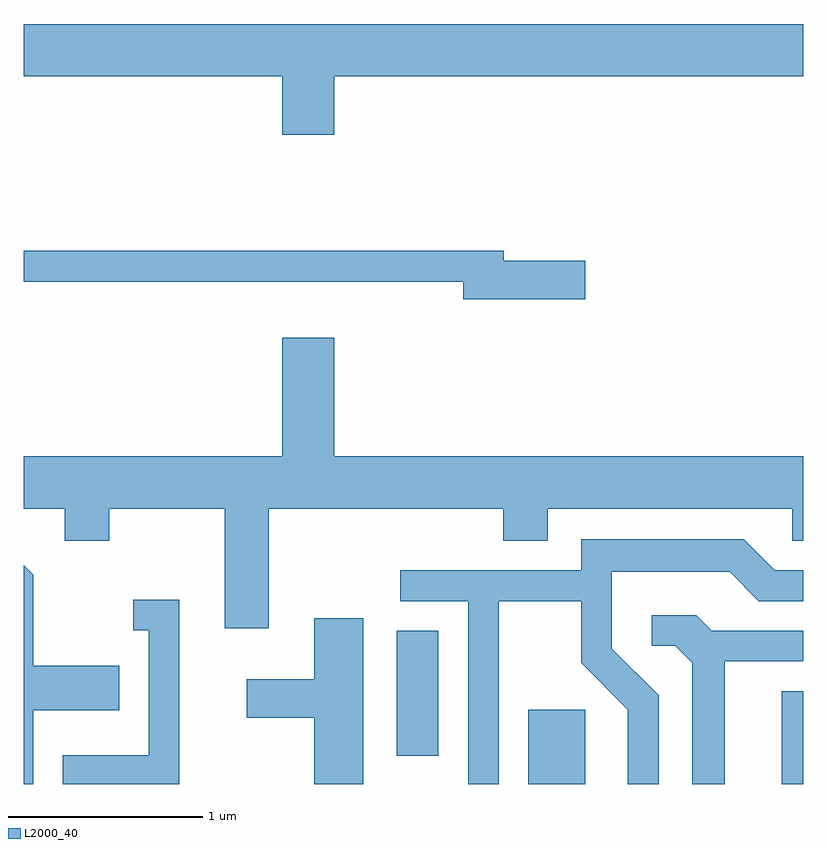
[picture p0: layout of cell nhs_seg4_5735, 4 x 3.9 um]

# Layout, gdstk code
import gdstk
lib = gdstk.Library(unit=1e-6, precision=1e-09)
def R(c, l, rs):  # rectangles x0, y0, x1, y1
    for r in rs: c.add(gdstk.rectangle(r[:2], r[2:], *l))
def P(c, l, *ps):  # polygons
    for p in ps: c.add(gdstk.Polygon(p, *l))
L2000_40 = (2000, 40)

nhs_seg4_5735 = lib.new_cell('nhs_seg4_5735')
R(nhs_seg4_5735, L2000_40, [(356.201,1299.982,356.494,1300.364), (357.501,1299.982,357.611,1300.459), (355.526,1300.126,355.739,1300.769)])
P(nhs_seg4_5735, L2000_40, [(353.611,1303.616),(354.936,1303.616),(354.936,1303.316),(355.204,1303.316),(355.204,1303.616),(357.611,1303.616),(357.611,1303.884),(353.611,1303.884)],
  [(356.494,1302.669),(356.074,1302.669),(356.074,1302.719),(353.611,1302.719),(353.611,1302.561),(355.866,1302.561),(355.866,1302.471),(356.494,1302.471)],
  [(354.869,1301.396),(356.071,1301.396),(356.071,1301.231),(356.299,1301.231),(356.299,1301.396),(357.556,1301.396),(357.556,1301.231),(357.611,1301.231),(357.611,1301.664),(355.204,1301.664),(355.204,1302.274),(354.936,1302.274),(354.936,1301.664),(353.611,1301.664),(353.611,1301.396),(353.821,1301.396),(353.821,1301.231),(354.049,1301.231),(354.049,1301.396),(354.641,1301.396),(354.641,1300.781),(354.869,1300.781)],
  [(356.049,1300.921),(356.471,1300.921),(356.471,1300.604),(356.711,1300.364),(356.711,1299.982),(356.869,1299.982),(356.869,1300.437),(356.629,1300.677),(356.629,1301.071),(357.234,1301.071),(357.384,1300.921),(357.611,1300.921),(357.611,1301.079),(357.467,1301.079),(357.307,1301.239),(356.471,1301.239),(356.471,1301.079),(355.543,1301.079),(355.543,1300.921),(355.891,1300.921),(355.891,1299.982),(356.049,1299.982)],
  [(353.659,1300.361),(354.099,1300.361),(354.099,1300.589),(353.659,1300.589),(353.659,1301.057),(353.611,1301.105),(353.611,1299.982),(353.659,1299.982)],
  [(354.409,1300.929),(354.173,1300.929),(354.173,1300.771),(354.251,1300.771),(354.251,1300.129),(353.811,1300.129),(353.811,1299.982),(354.409,1299.982)],
  [(357.209,1300.611),(357.611,1300.611),(357.611,1300.769),(357.142,1300.769),(357.062,1300.849),(356.833,1300.849),(356.833,1300.691),(356.954,1300.691),(357.041,1300.604),(357.041,1299.982),(357.209,1299.982)],
  [(355.354,1300.834),(355.101,1300.834),(355.101,1300.519),(354.756,1300.519),(354.756,1300.321),(355.101,1300.321),(355.101,1299.982),(355.354,1299.982)])

lib.write_gds('nhs_seg4_5735.gds')
